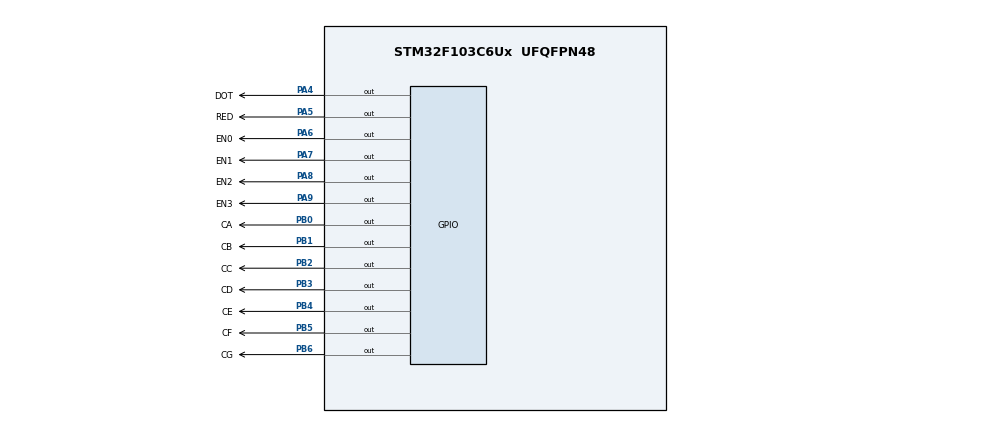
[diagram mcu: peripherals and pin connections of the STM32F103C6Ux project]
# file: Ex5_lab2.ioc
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Mcu.Family=STM32F1
Mcu.Name=STM32F103C6Ux
Mcu.Package=UFQFPN48
NVIC.PriorityGroup=NVIC_PRIORITYGROUP_4
NVIC.TIM2_IRQn=true\:0\:0\:false\:false\:true\:true\:true
PA4.GPIO_Label=DOT
PA4.Signal=GPIO_Output
PA5.GPIO_Label=RED
PA5.Signal=GPIO_Output
PA6.GPIO_Label=EN0
PA6.Signal=GPIO_Output
PA7.GPIO_Label=EN1
PA7.Signal=GPIO_Output
PA8.GPIO_Label=EN2
PA8.Signal=GPIO_Output
PA9.GPIO_Label=EN3
PA9.Signal=GPIO_Output
PB0.GPIO_Label=CA
PB0.Signal=GPIO_Output
PB1.GPIO_Label=CB
PB1.Signal=GPIO_Output
PB2.GPIO_Label=CC
PB2.Signal=GPIO_Output
PB3.GPIO_Label=CD
PB3.Signal=GPIO_Output
PB4.GPIO_Label=CE
PB4.Signal=GPIO_Output
PB5.GPIO_Label=CF
PB5.Signal=GPIO_Output
PB6.GPIO_Label=CG
PB6.Signal=GPIO_Output
ProjectManager.HeapSize=0x200
ProjectManager.StackSize=0x400
ProjectManager.TargetToolchain=STM32CubeIDE
RCC.APB1Freq_Value=8000000
RCC.APB2Freq_Value=8000000
TIM2.Period=9
TIM2.Prescaler=7999
VP_SYS_VS_ND.Mode=No_Debug
VP_TIM2_VS_ClockSourceINT.Mode=Internal
board=custom

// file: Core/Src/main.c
/* USER CODE BEGIN Header */
/**
  ******************************************************************************
  * @file           : main.c
  * @brief          : Main program body
  ******************************************************************************
  * @attention
  *
  * <h2><center>&copy; Copyright (c) 2022 STMicroelectronics.
  * All rights reserved.</center></h2>
  *
  * This software component is licensed by ST under BSD 3-Clause license,
  * the "License"; You may not use this file except in compliance with the
  * License. You may obtain a copy of the License at:
  *                        opensource.org/licenses/BSD-3-Clause
  *
  ******************************************************************************
  */
/* USER CODE END Header */
#include "main.h"

TIM_HandleTypeDef htim2;

void SystemClock_Config(void);
static void MX_GPIO_Init(void);
static void MX_TIM2_Init(void);

int main(void)
{

  /* MCU Configuration--------------------------------------------------------*/

  /* Reset of all peripherals, Initializes the Flash interface and the Systick. */
  HAL_Init();

  /* USER CODE BEGIN Init */
  void display7SEG(int num);
  void updateClockBuffer(int gio,int phut);
  /* USER CODE END Init */

  /* Configure the system clock */
  SystemClock_Config();

  /* Initialize all configured peripherals */
  MX_GPIO_Init();
  MX_TIM2_Init();
  /* USER CODE BEGIN 2 */
  HAL_TIM_Base_Start_IT(&htim2);
  /* USER CODE END 2 */

  /* Infinite loop */
  /* USER CODE BEGIN WHILE */
  int hour = 15 , minute = 8 , second = 50;

  while (1)
  {
	  second ++;
	  if ( second >= 60) {
		  second = 0;
		  minute ++;
	  }
	  if ( minute >= 60) {
		  minute = 0;
		  hour ++;
	  }
	  if ( hour >=24) {
		  hour = 0;
	  }
	  updateClockBuffer (hour,minute) ;
	  HAL_Delay (1000) ;
    /* USER CODE END WHILE */

  }
}

void SystemClock_Config(void)
{
  RCC_OscInitTypeDef RCC_OscInitStruct = {0};
  RCC_ClkInitTypeDef RCC_ClkInitStruct = {0};

  /** Initializes the RCC Oscillators according to the specified parameters
  * in the RCC_OscInitTypeDef structure.
  */
  RCC_OscInitStruct.OscillatorType = RCC_OSCILLATORTYPE_HSI;
  RCC_OscInitStruct.HSIState = RCC_HSI_ON;
  RCC_OscInitStruct.HSICalibrationValue = RCC_HSICALIBRATION_DEFAULT;
  RCC_OscInitStruct.PLL.PLLState = RCC_PLL_NONE;
  if (HAL_RCC_OscConfig(&RCC_OscInitStruct) != HAL_OK)
  {
    Error_Handler();
  }
  /** Initializes the CPU, AHB and APB buses clocks
  */
  RCC_ClkInitStruct.ClockType = RCC_CLOCKTYPE_HCLK|RCC_CLOCKTYPE_SYSCLK
                              |RCC_CLOCKTYPE_PCLK1|RCC_CLOCKTYPE_PCLK2;
  RCC_ClkInitStruct.SYSCLKSource = RCC_SYSCLKSOURCE_HSI;
  RCC_ClkInitStruct.AHBCLKDivider = RCC_SYSCLK_DIV1;
  RCC_ClkInitStruct.APB1CLKDivider = RCC_HCLK_DIV1;
  RCC_ClkInitStruct.APB2CLKDivider = RCC_HCLK_DIV1;

  if (HAL_RCC_ClockConfig(&RCC_ClkInitStruct, FLASH_LATENCY_0) != HAL_OK)
  {
    Error_Handler();
  }
}

static void MX_TIM2_Init(void)
{

  TIM_ClockConfigTypeDef sClockSourceConfig = {0};
  TIM_MasterConfigTypeDef sMasterConfig = {0};

  htim2.Instance = TIM2;
  htim2.Init.Prescaler = 7999;
  htim2.Init.CounterMode = TIM_COUNTERMODE_UP;
  htim2.Init.Period = 9;
  htim2.Init.ClockDivision = TIM_CLOCKDIVISION_DIV1;
  htim2.Init.AutoReloadPreload = TIM_AUTORELOAD_PRELOAD_DISABLE;
  if (HAL_TIM_Base_Init(&htim2) != HAL_OK)
  {
    Error_Handler();
  }
  sClockSourceConfig.ClockSource = TIM_CLOCKSOURCE_INTERNAL;
  if (HAL_TIM_ConfigClockSource(&htim2, &sClockSourceConfig) != HAL_OK)
  {
    Error_Handler();
  }
  sMasterConfig.MasterOutputTrigger = TIM_TRGO_RESET;
  sMasterConfig.MasterSlaveMode = TIM_MASTERSLAVEMODE_DISABLE;
  if (HAL_TIMEx_MasterConfigSynchronization(&htim2, &sMasterConfig) != HAL_OK)
  {
    Error_Handler();
  }

}

static void MX_GPIO_Init(void)
{
  GPIO_InitTypeDef GPIO_InitStruct = {0};

  /* GPIO Ports Clock Enable */
  __HAL_RCC_GPIOA_CLK_ENABLE();
  __HAL_RCC_GPIOB_CLK_ENABLE();

  /*Configure GPIO pin Output Level */
  HAL_GPIO_WritePin(GPIOA, DOT_Pin|RED_Pin|EN0_Pin|EN1_Pin
                          |EN2_Pin|EN3_Pin, GPIO_PIN_RESET);

  /*Configure GPIO pin Output Level */
  HAL_GPIO_WritePin(GPIOB, CA_Pin|CB_Pin|CC_Pin|CD_Pin
                          |CE_Pin|CF_Pin|CG_Pin, GPIO_PIN_RESET);

  /*Configure GPIO pins : DOT_Pin RED_Pin EN0_Pin EN1_Pin
                           EN2_Pin EN3_Pin */
  GPIO_InitStruct.Pin = DOT_Pin|RED_Pin|EN0_Pin|EN1_Pin
                          |EN2_Pin|EN3_Pin;
  GPIO_InitStruct.Mode = GPIO_MODE_OUTPUT_PP;
  GPIO_InitStruct.Pull = GPIO_NOPULL;
  GPIO_InitStruct.Speed = GPIO_SPEED_FREQ_LOW;
  HAL_GPIO_Init(GPIOA, &GPIO_InitStruct);

  /*Configure GPIO pins : CA_Pin CB_Pin CC_Pin CD_Pin
                           CE_Pin CF_Pin CG_Pin */
  GPIO_InitStruct.Pin = CA_Pin|CB_Pin|CC_Pin|CD_Pin
                          |CE_Pin|CF_Pin|CG_Pin;
  GPIO_InitStruct.Mode = GPIO_MODE_OUTPUT_PP;
  GPIO_InitStruct.Pull = GPIO_NOPULL;
  GPIO_InitStruct.Speed = GPIO_SPEED_FREQ_LOW;
  HAL_GPIO_Init(GPIOB, &GPIO_InitStruct);

}

/* USER CODE BEGIN 4 */
void display7SEG(int num){
	HAL_GPIO_WritePin(CA_GPIO_Port, CA_Pin, 1);
	HAL_GPIO_WritePin(CB_GPIO_Port, CB_Pin, 1);
	HAL_GPIO_WritePin(CC_GPIO_Port, CC_Pin, 1);
	HAL_GPIO_WritePin(CD_GPIO_Port, CD_Pin, 1);
	HAL_GPIO_WritePin(CE_GPIO_Port, CE_Pin, 1);
	HAL_GPIO_WritePin(CF_GPIO_Port, CF_Pin, 1);
	HAL_GPIO_WritePin(CG_GPIO_Port, CG_Pin, 1);
	switch(num){
	case 0:{
		HAL_GPIO_WritePin(CA_GPIO_Port, CA_Pin, 0);
		HAL_GPIO_WritePin(CB_GPIO_Port, CB_Pin, 0);
		HAL_GPIO_WritePin(CC_GPIO_Port, CC_Pin, 0);
		HAL_GPIO_WritePin(CD_GPIO_Port, CD_Pin, 0);
		HAL_GPIO_WritePin(CE_GPIO_Port, CE_Pin, 0);
		HAL_GPIO_WritePin(CF_GPIO_Port, CF_Pin, 0);
		break;
	}
	case 1:{
		HAL_GPIO_WritePin(CB_GPIO_Port, CB_Pin, 0);
		HAL_GPIO_WritePin(CC_GPIO_Port, CC_Pin, 0);
		break;
	}
	case 2:{
		HAL_GPIO_WritePin(CA_GPIO_Port, CA_Pin, 0);
		HAL_GPIO_WritePin(CB_GPIO_Port, CB_Pin, 0);
		HAL_GPIO_WritePin(CG_GPIO_Port, CG_Pin, 0);
		HAL_GPIO_WritePin(CD_GPIO_Port, CD_Pin, 0);
		HAL_GPIO_WritePin(CE_GPIO_Port, CE_Pin, 0);
		break;
	}
	case 3:{
		HAL_GPIO_WritePin(CA_GPIO_Port, CA_Pin, 0);
		HAL_GPIO_WritePin(CB_GPIO_Port, CB_Pin, 0);
		HAL_GPIO_WritePin(CC_GPIO_Port, CC_Pin, 0);
		HAL_GPIO_WritePin(CD_GPIO_Port, CD_Pin, 0);
		HAL_GPIO_WritePin(CG_GPIO_Port, CG_Pin, 0);
		break;
	}
	case 4:{
		HAL_GPIO_WritePin(CB_GPIO_Port, CB_Pin, 0);
		HAL_GPIO_WritePin(CC_GPIO_Port, CC_Pin, 0);
		HAL_GPIO_WritePin(CG_GPIO_Port, CG_Pin, 0);
		HAL_GPIO_WritePin(CF_GPIO_Port, CF_Pin, 0);
		break;
	}
	case 5:{
		HAL_GPIO_WritePin(CA_GPIO_Port, CA_Pin, 0);
		HAL_GPIO_WritePin(CC_GPIO_Port, CC_Pin, 0);
		HAL_GPIO_WritePin(CD_GPIO_Port, CD_Pin, 0);
		HAL_GPIO_WritePin(CG_GPIO_Port, CG_Pin, 0);
		HAL_GPIO_WritePin(CF_GPIO_Port, CF_Pin, 0);
		break;
	}
	case 6:{
		HAL_GPIO_WritePin(CA_GPIO_Port, CA_Pin, 0);
		HAL_GPIO_WritePin(CG_GPIO_Port, CG_Pin, 0);
		HAL_GPIO_WritePin(CC_GPIO_Port, CC_Pin, 0);
		HAL_GPIO_WritePin(CD_GPIO_Port, CD_Pin, 0);
		HAL_GPIO_WritePin(CE_GPIO_Port, CE_Pin, 0);
		HAL_GPIO_WritePin(CF_GPIO_Port, CF_Pin, 0);
		break;
	}
	case 7:{
		HAL_GPIO_WritePin(CA_GPIO_Port, CA_Pin, 0);
		HAL_GPIO_WritePin(CB_GPIO_Port, CB_Pin, 0);
		HAL_GPIO_WritePin(CC_GPIO_Port, CC_Pin, 0);
		break;
	}
	case 8:{
		HAL_GPIO_WritePin(CA_GPIO_Port, CA_Pin, 0);
		HAL_GPIO_WritePin(CB_GPIO_Port, CB_Pin, 0);
		HAL_GPIO_WritePin(CC_GPIO_Port, CC_Pin, 0);
		HAL_GPIO_WritePin(CD_GPIO_Port, CD_Pin, 0);
		HAL_GPIO_WritePin(CE_GPIO_Port, CE_Pin, 0);
		HAL_GPIO_WritePin(CF_GPIO_Port, CF_Pin, 0);
		HAL_GPIO_WritePin(CG_GPIO_Port, CG_Pin, 0);
		break;
	}
	case 9:{
		HAL_GPIO_WritePin(CA_GPIO_Port, CA_Pin, 0);
		HAL_GPIO_WritePin(CB_GPIO_Port, CB_Pin, 0);
		HAL_GPIO_WritePin(CC_GPIO_Port, CC_Pin, 0);
		HAL_GPIO_WritePin(CD_GPIO_Port, CD_Pin, 0);
		HAL_GPIO_WritePin(CF_GPIO_Port, CF_Pin, 0);
		HAL_GPIO_WritePin(CG_GPIO_Port, CG_Pin, 0);
		break;
	}
	default: break;
	}
}
int led_buffer [4];
void updateClockBuffer(int gio, int phut){
	led_buffer[0] =gio / 10;
	led_buffer[1] = gio % 10;
	led_buffer[2] = phut / 10;
	led_buffer[3] = phut % 10;
}

void update7SEG ( int index ) {
	switch ( index ) {
		case 0:{
			HAL_GPIO_WritePin(EN0_GPIO_Port, EN0_Pin, 0);
			HAL_GPIO_WritePin(EN1_GPIO_Port, EN1_Pin, 1);
			HAL_GPIO_WritePin(EN2_GPIO_Port, EN2_Pin, 1);
			HAL_GPIO_WritePin(EN3_GPIO_Port, EN3_Pin, 1);
			display7SEG(led_buffer[0]);
			break;
		}
		case 1:{
			HAL_GPIO_WritePin(EN0_GPIO_Port, EN0_Pin, 1);
			HAL_GPIO_WritePin(EN1_GPIO_Port, EN1_Pin, 0);
			HAL_GPIO_WritePin(EN2_GPIO_Port, EN2_Pin, 1);
			HAL_GPIO_WritePin(EN3_GPIO_Port, EN3_Pin, 1);
			display7SEG(led_buffer[1]);
			break;
		}
		case 2:{
			HAL_GPIO_WritePin(EN0_GPIO_Port, EN0_Pin, 1);
			HAL_GPIO_WritePin(EN1_GPIO_Port, EN1_Pin, 1);
			HAL_GPIO_WritePin(EN2_GPIO_Port, EN2_Pin, 0);
			HAL_GPIO_WritePin(EN3_GPIO_Port, EN3_Pin, 1);
			display7SEG(led_buffer[2]);
			break;
		}
		case 3:{
			HAL_GPIO_WritePin(EN0_GPIO_Port, EN0_Pin, 1);
			HAL_GPIO_WritePin(EN1_GPIO_Port, EN1_Pin, 1);
			HAL_GPIO_WritePin(EN2_GPIO_Port, EN2_Pin, 1);
			HAL_GPIO_WritePin(EN3_GPIO_Port, EN3_Pin, 0);
			display7SEG(led_buffer[3]);
			break;
		}
		default :
			break ;
	}
 }

int counter1 = 100;
int counter2 = 50;
int counter3 = 100;
int index_led = 0;
void HAL_TIM_PeriodElapsedCallback(TIM_HandleTypeDef *htim){
	counter1--;
	if ( counter1 <= 0) {
	counter1 = 100;
	HAL_GPIO_TogglePin(RED_GPIO_Port ,RED_Pin );
	}
	counter2--;
	if(counter2<=0){
	  counter2 = 50;

	  if(index_led>3){
		  index_led=0;
	  }
	  update7SEG(index_led++);
	}
	counter3--;
	if(counter3<=0){
		counter3=100;
		HAL_GPIO_TogglePin(DOT_GPIO_Port, DOT_Pin);
	}
}
/* USER CODE END 4 */

void Error_Handler(void)
{
  __disable_irq();
  while (1)
  {
  }
}

/************************ (C) COPYRIGHT STMicroelectronics *****END OF FILE****/
